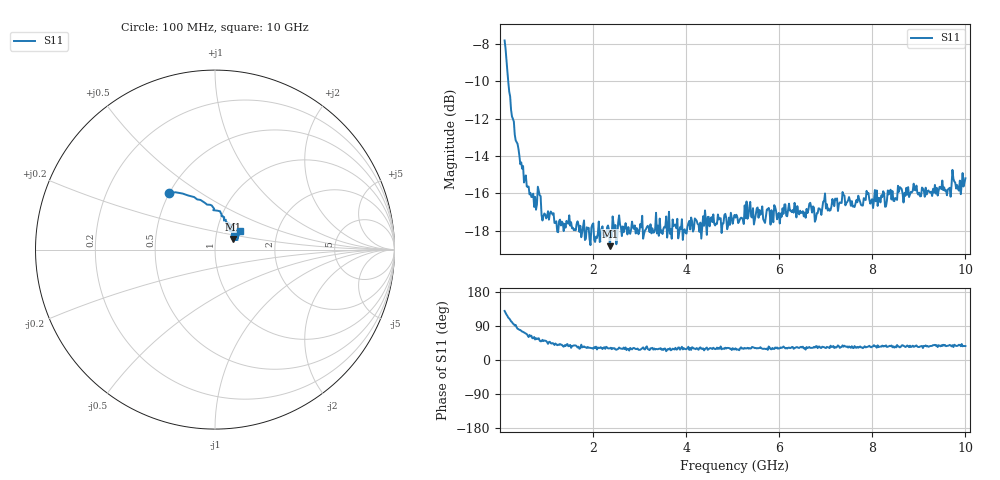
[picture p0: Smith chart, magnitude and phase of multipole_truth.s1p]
# GHz S RI R 50
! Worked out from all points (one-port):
!   500 points, 100 MHz to 10 GHz, reference 50 ohm
!   lowest |S11| = -18.8 dB at 2.362 GHz (marker M1), VSWR 1.26, Z = 60.4 + j7.17 ohm
!   |S11| at or under -10 dB: 178 MHz to end of sweep
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0.1  -0.2585 0.3145
0.1991984  -0.0994 0.2798
0.2785571  -0.0269 0.2496
0.3975952  0.0309 0.2063
0.5563126  0.0599 0.1666
0.7547094  0.0909 0.1257
0.8340681  0.0867 0.1353
0.9332665  0.0887 0.1055
1.111824  0.1021 0.0965
1.211022  0.1004 0.088
1.3499  0.1055 0.0793
2.064128  0.0992 0.0699
2.361723  0.0984 0.0585
2.57996  0.1123 0.0668
3.82986  0.1009 0.0653
5.05992  0.1171 0.0702
6.28998  0.1181 0.0808
6.686774  0.1236 0.0769
6.805812  0.1124 0.0838
6.984369  0.1337 0.085
7.083567  0.1216 0.0741
7.361323  0.125 0.0996
7.53988  0.1242 0.0782
8.76994  0.1322 0.0983
9.642886  0.1282 0.101
9.742084  0.1434 0.0976
9.861122  0.1233 0.1039
10  0.1394 0.1041
